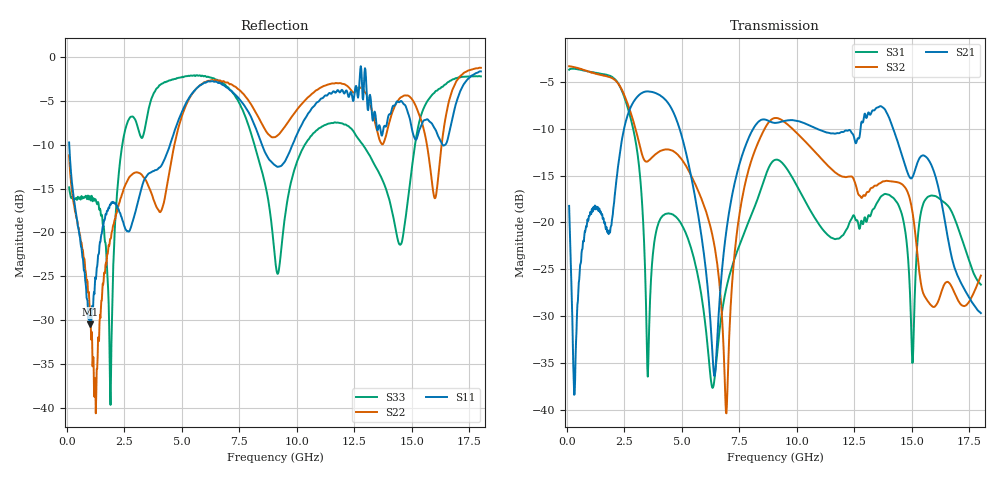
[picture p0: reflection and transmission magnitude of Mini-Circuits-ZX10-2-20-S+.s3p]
#  HZ  S  MA  R  50.00
! Rohde & Schwarz ZVA67 4Ports - Version 4.11 - 1305.7002k04 SN: 101051
! Date: 2023-03-28 15:18:18
! Measurements: S11 S12 S13 S21 S22 S23 S31 S32 S33
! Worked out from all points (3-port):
!   896 points, 100 MHz to 18 GHz, reference 50 ohm
!   strongest paths, dB at 100 MHz, 4.58 GHz, 9.06 GHz, 13.54 GHz, 18 GHz:
!     S21: -18.2, -8.0, -9.4, -7.7, -29.7
!     S32: -3.3, -12.3, -8.8, -15.9, -25.7
!     S31: -3.7, -19.1, -13.3, -17.7, -26.7
!   lowest |S11| = -30.4 dB at 1 GHz (marker M1), VSWR 1.06, Z = 52.6 - j1.63 ohm
!   |S11| at or under -10 dB: 104.6 MHz to 4.487 GHz (4.383 GHz wide, 191 % of centre); 8.481 GHz to 9.816 GHz (1.335 GHz wide, 14.6 % of centre); 16.33 GHz to 16.46 GHz (129 MHz wide, 0.787 % of centre)
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1e8  0.3252 121.7  0.1219 -73.3  0.6545 -4.2
     0.1225 -73.4  0.2753 123.4  0.6838 -6.9
     0.6541 -4.1  0.6828 -6.9  0.1806 37.3
1e9  0.03009 -31.0  0.1088 -6.6  0.6386 -117.5
     0.1086 -6.4  0.03682 27.1  0.6348 -117.6
     0.638 -117.4  0.6362 -117.6  0.1611 -61.4
1.9e9  0.1434 119.1  0.09338 -57.0  0.6055 117.4
       0.09353 -56.8  0.09182 77.3  0.5921 114.2
       0.6051 117.4  0.5943 114.2  0.01045 125.1
3.52e9  0.2138 106.9  0.5022 127.6  0.01491 49.8
        0.501 127.6  0.1872 115.4  0.212 -121.2
        0.01499 50.3  0.212 -121.3  0.4805 -51.9
4.4e9  0.2926 -47.2  0.4349 19.6  0.1113 175.8
       0.4346 19.7  0.1996 -80.1  0.245 148.0
       0.1115 175.8  0.245 147.9  0.7276 170.9
5.46e9  0.6214 162.7  0.1622 -106.2  0.06855 37.2
        0.1625 -106.2  0.6166 134.9  0.1721 37.0
        0.06873 37.2  0.1721 37.0  0.7789 91.3
6.92e9  0.6719 27.5  0.08714 -32.2  0.04362 22.5
        0.08717 -31.9  0.7129 1.5  0.009649 -177.0
        0.04368 22.7  0.009582 -175.6  0.6837 -9.1
9.06e9  0.2409 -160.6  0.3403 84.8  0.2154 -169.1
        0.34 84.9  0.349 120.9  0.3607 -143.1
        0.2159 -169.1  0.3611 -143.1  0.0694 155.7
1.19e10  0.6327 -81.5  0.3026 -168.5  0.08319 -59.6
         0.3025 -168.3  0.7075 -92.0  0.1772 -28.8
         0.08328 -59.8  0.1774 -28.9  0.4192 -175.7
1.8e10  0.8251 93.2  0.03275 174.3  0.04652 -125.9
        0.03274 174.5  0.8646 87.8  0.0519 -72.3
        0.0465 -125.8  0.05196 -72.4  0.7726 120.1
